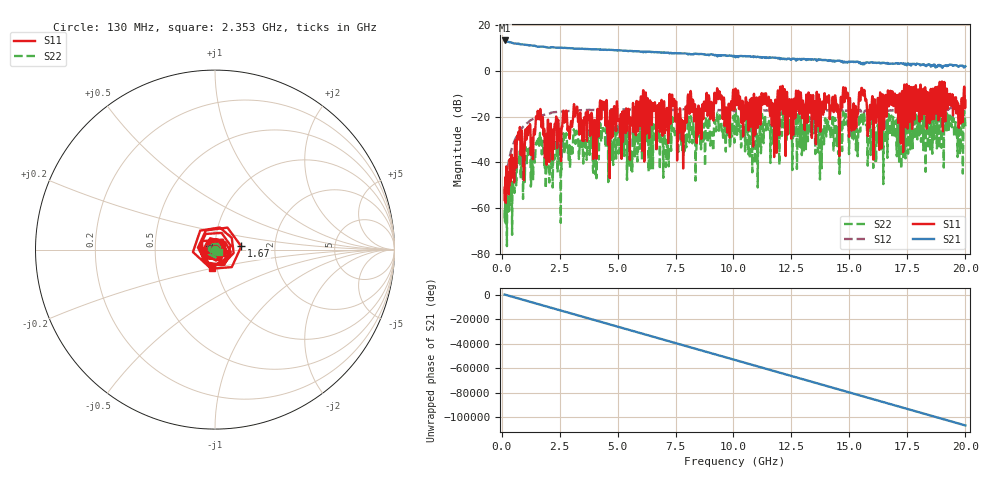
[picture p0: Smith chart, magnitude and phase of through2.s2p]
!Created with skrf (http://scikit-rf.org).
# GHz S RI R 50.0
!freq ReS11 ImS11 ReS21 ImS21 ReS12 ImS12 ReS22 ImS22
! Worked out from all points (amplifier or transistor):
!   1601 points, 130 MHz to 20 GHz, reference 50 ohm
!   highest |S21| = 13.4 dB at 130 MHz (marker M1)
!   |S21| within 3 dB of that: start of sweep to 1.947 GHz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
!   unconditionally stable (mu >= 1): start of sweep to end of sweep
!   at 3.433 GHz: K = 1.38, MAG = 9.8 dB, |S12| = -17.1 dB
!   at 10.06 GHz: K = 1.74, MAG = 6.9 dB, |S12| = -17.5 dB
!   at 20 GHz: K = 2.71, MAG = 2.3 dB, |S12| = -16.9 dB
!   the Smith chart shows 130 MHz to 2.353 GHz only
!   S11 on the Smith chart (normalised r, x): 130 MHz: 1.01, +0.00; 1.67 GHz: 1.34, +0.05; 2.353 GHz: 0.95, -0.19
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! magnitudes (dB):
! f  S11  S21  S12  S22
! 130 MHz  -51.2  13.4  -53.7  -60.7
! 651.6 MHz  -32.9  12.0  -28.5  -42.9
! 1.67 GHz  -16.6  10.7  -19.7  -27.5
! 1.956 GHz  -33.6  10.4  -18.8  -33.1
! 2.353 GHz  -19.9  10.2  -18.0  -31.1
! 3.446 GHz  -21.3  9.8  -17.1  -32.9
! 4.017 GHz  -21.5  9.5  -16.9  -29.9
! 4.34 GHz  -13.3  9.4  -17.0  -24.4
! 4.65 GHz  -26.3  9.3  -16.7  -31.0
! 6.762 GHz  -23.2  8.2  -16.7  -30.2
! 7.432 GHz  -12.3  7.7  -16.9  -25.8
! 7.817 GHz  -26.4  7.7  -16.8  -31.3
! 8.115 GHz  -16.3  7.5  -17.0  -27.7
! 10.06 GHz  -9.2  6.3  -17.5  -20.3
! 13.38 GHz  -29.3  5.2  -16.8  -25.5
! 14.6 GHz  -23.3  4.4  -17.1  -26.8
! 14.82 GHz  -7.3  3.8  -17.5  -19.7
! 15.14 GHz  -23.0  4.2  -17.0  -30.3
! 15.59 GHz  -10.7  3.6  -17.4  -23.9
! 16.11 GHz  -18.4  3.7  -16.9  -39.5
! 16.7 GHz  -15.5  3.3  -17.4  -19.5
! 20 GHz  -12.9  2.1  -16.9  -24.9
